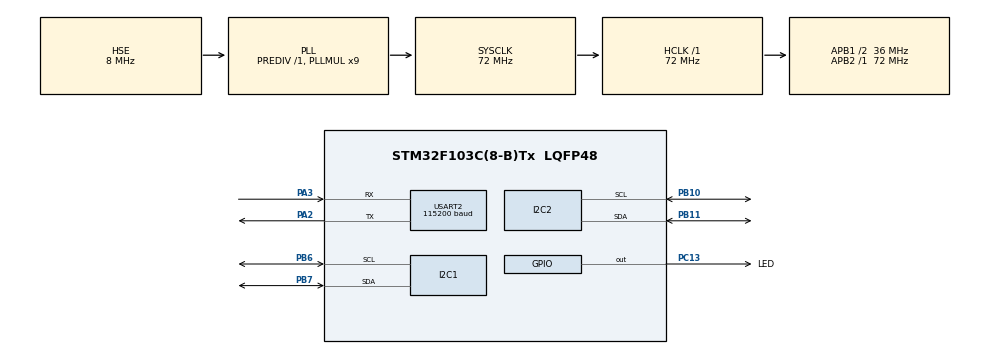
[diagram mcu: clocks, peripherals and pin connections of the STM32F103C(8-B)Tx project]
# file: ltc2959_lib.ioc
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Dma.I2C1_TX.0.Direction=DMA_MEMORY_TO_PERIPH
Dma.I2C1_TX.0.Instance=DMA1_Channel6
Dma.I2C1_TX.0.MemDataAlignment=DMA_MDATAALIGN_BYTE
Dma.I2C1_TX.0.MemInc=DMA_MINC_ENABLE
Dma.I2C1_TX.0.Mode=DMA_NORMAL
Dma.I2C1_TX.0.PeriphDataAlignment=DMA_PDATAALIGN_BYTE
Dma.I2C1_TX.0.PeriphInc=DMA_PINC_DISABLE
Dma.I2C1_TX.0.Priority=DMA_PRIORITY_LOW
Dma.Request0=I2C1_TX
I2C1.I2C_Mode=I2C_Fast
I2C2.I2C_Mode=I2C_Fast
Mcu.Family=STM32F1
Mcu.Name=STM32F103C(8-B)Tx
Mcu.Package=LQFP48
NVIC.DMA1_Channel6_IRQn=true\:0\:0\:false\:false\:true\:false\:true\:true
NVIC.PriorityGroup=NVIC_PRIORITYGROUP_4
PA13.Mode=Serial_Wire
PA13.Signal=SYS_JTMS-SWDIO
PA14.Mode=Serial_Wire
PA14.Signal=SYS_JTCK-SWCLK
PA2.Mode=Asynchronous
PA2.Signal=USART2_TX
PA3.Mode=Asynchronous
PA3.Signal=USART2_RX
PB10.Mode=I2C
PB10.Signal=I2C2_SCL
PB11.Mode=I2C
PB11.Signal=I2C2_SDA
PB6.Mode=I2C
PB6.Signal=I2C1_SCL
PB7.Mode=I2C
PB7.Signal=I2C1_SDA
PC13-TAMPER-RTC.GPIO_Label=LED
PC13-TAMPER-RTC.Signal=GPIO_Output
PD0-OSC_IN.Mode=HSE-External-Oscillator
PD0-OSC_IN.Signal=RCC_OSC_IN
PD1-OSC_OUT.Mode=HSE-External-Oscillator
PD1-OSC_OUT.Signal=RCC_OSC_OUT
ProjectManager.HeapSize=0x200
ProjectManager.StackSize=0x400
ProjectManager.TargetToolchain=STM32CubeIDE
RCC.AHBFreq_Value=72000000
RCC.APB1CLKDivider=RCC_HCLK_DIV2
RCC.APB1Freq_Value=36000000
RCC.APB1TimFreq_Value=72000000
RCC.APB2Freq_Value=72000000
RCC.APB2TimFreq_Value=72000000
RCC.HCLKFreq_Value=72000000
RCC.PLLMUL=RCC_PLL_MUL9
RCC.PLLSourceVirtual=RCC_PLLSOURCE_HSE
RCC.SYSCLKFreq_VALUE=72000000
RCC.SYSCLKSource=RCC_SYSCLKSOURCE_PLLCLK
RCC.USBFreq_Value=72000000
USART2.BaudRate=115200
USART2.Mode=MODE_TX
USART2.VirtualMode=VM_ASYNC
board=custom

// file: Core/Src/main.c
/* USER CODE BEGIN Header */
/**
  ******************************************************************************
  * @file           : main.c
  * @brief          : Main program body
  ******************************************************************************
  * @attention
  *
  * Copyright (c) 2024 STMicroelectronics.
  * All rights reserved.
  *
  * This software is licensed under terms that can be found in the LICENSE file
  * in the root directory of this software component.
  * If no LICENSE file comes with this software, it is provided AS-IS.
  *
  ******************************************************************************
  */
/* USER CODE END Header */
#include "main.h"
#include "dma.h"
#include "i2c.h"
#include "usart.h"
#include "gpio.h"

/* USER CODE BEGIN Includes */
#include "../../ltc2959/ltc2959.h"
#include "../../ssd1306_oled_lib/inc/ssd1306.h"
#include "../../ssd1306_oled_lib/inc/ssd1306_tests.h"
#include <stdbool.h>
#include <stdio.h>
/* USER CODE END Includes */

/* USER CODE BEGIN PD */
#define _DEBUG
//#define TEST_ACC
#define TEST_TIME_MS		5000
/* USER CODE END PD */

/* USER CODE BEGIN PV */
//LTC2959_Config_t *ltc2959_config;
LTC2959_Config_t ltc2959 = {
    .ADC_mode		= 	CTRL_ADC_MODE_CONT_ALT_V_I,
    .GPIO_config 	= 	CTRL_GPIO_CONFIG_ANALOG_INPUT_1560mV,
    .voltage_input 	= 	CTRL_CONFIG_VOLTAGE_INPUT_SENSEN,
    .CC_deadband 	= 	CC_CONFIG_DEADBAND_20,
};

uint32_t tick, prev_tick = 0, i2c_timeout = 10;
uint32_t prev_print_delay = 0, print_delay = 1000;
uint16_t blink_delay = 100;
uint32_t charge = 0;
int32_t current = 0, voltage = 0;
uint16_t temp = 0;

/* USER CODE END PV */

void SystemClock_Config(void);
/* USER CODE BEGIN PFP */
void LTC2959_Device_Config(void);

void myOLED_char(uint16_t cursorX, uint16_t cursorY, char* data);
void myOLED_float(uint16_t cursorX, uint16_t cursorY, float data);
void myOLED_int(uint16_t cursorX, uint16_t cursorY, uint16_t data);
void myOLED_int8(uint16_t cursorX, uint16_t cursorY, uint8_t data);
/* USER CODE END PFP */

/* USER CODE BEGIN 0 */
#ifdef __GNUC__
#define PUTCHAR_PROTOTYPE int __io_putchar(int ch)
#else
#define PUTCHAR_PROTOTYPE int fputc(int ch, FILE *f)
#endif

PUTCHAR_PROTOTYPE
{
  HAL_UART_Transmit(&huart2, (uint8_t *)&ch, 1, 1000);
  return ch;
}

/* USER CODE END 0 */

int main(void)
{

  /* MCU Configuration--------------------------------------------------------*/

  /* Reset of all peripherals, Initializes the Flash interface and the Systick. */
  HAL_Init();

  /* Configure the system clock */
  SystemClock_Config();

  /* Initialize all configured peripherals */
  MX_GPIO_Init();
  MX_DMA_Init();
  MX_I2C2_Init();
  MX_I2C1_Init();
  MX_USART2_UART_Init();
  /* USER CODE BEGIN 2 */
  printf("LTC2959 Begin\n\r");
  while(HAL_I2C_IsDeviceReady(&LTC2959_I2C_PORT, LTC2959_I2C_ADDR, 100, 1000) != HAL_OK);	// wait for it to come alive
  LTC2959_Init(&ltc2959);
  HAL_Delay(10);

  /* USER CODE END 2 */

  /* Infinite loop */
  /* USER CODE BEGIN WHILE */
  while (1)
  {

	  tick = HAL_GetTick();

	  if(tick - prev_tick >= blink_delay){
		  prev_tick = tick;
		  HAL_GPIO_TogglePin(LED_GPIO_Port, LED_Pin);
	  }
	  if(tick - prev_print_delay >= print_delay){
		  voltage = LTC2959_Get_Voltage();
		  printf("LTC2959_Voltage = %ld\n\r", voltage);
		  current = LTC2959_Get_Current();
		  printf("LTC2959_current = %ld\n\r", current);
		  charge = LTC2959_Get_Acc_Charge();
		  printf("LTC2959_charge = %lu \n\r\v", charge);

		  prev_print_delay = tick;
	  }
#ifdef TEST_ACC
	  if(tick >= TEST_TIME_MS){
//		  printf("tick %ld\n\r", tick);
		  LTC2959_Set_Do_Not_Count(false); 	// Stop the counting after
		  HAL_Delay(1000);
	  }
#endif

    /* USER CODE END WHILE */

  }
}

void SystemClock_Config(void)
{
  RCC_OscInitTypeDef RCC_OscInitStruct = {0};
  RCC_ClkInitTypeDef RCC_ClkInitStruct = {0};

  /** Initializes the RCC Oscillators according to the specified parameters
  * in the RCC_OscInitTypeDef structure.
  */
  RCC_OscInitStruct.OscillatorType = RCC_OSCILLATORTYPE_HSE;
  RCC_OscInitStruct.HSEState = RCC_HSE_ON;
  RCC_OscInitStruct.HSEPredivValue = RCC_HSE_PREDIV_DIV1;
  RCC_OscInitStruct.HSIState = RCC_HSI_ON;
  RCC_OscInitStruct.PLL.PLLState = RCC_PLL_ON;
  RCC_OscInitStruct.PLL.PLLSource = RCC_PLLSOURCE_HSE;
  RCC_OscInitStruct.PLL.PLLMUL = RCC_PLL_MUL9;
  if (HAL_RCC_OscConfig(&RCC_OscInitStruct) != HAL_OK)
  {
    Error_Handler();
  }

  /** Initializes the CPU, AHB and APB buses clocks
  */
  RCC_ClkInitStruct.ClockType = RCC_CLOCKTYPE_HCLK|RCC_CLOCKTYPE_SYSCLK
                              |RCC_CLOCKTYPE_PCLK1|RCC_CLOCKTYPE_PCLK2;
  RCC_ClkInitStruct.SYSCLKSource = RCC_SYSCLKSOURCE_PLLCLK;
  RCC_ClkInitStruct.AHBCLKDivider = RCC_SYSCLK_DIV1;
  RCC_ClkInitStruct.APB1CLKDivider = RCC_HCLK_DIV2;
  RCC_ClkInitStruct.APB2CLKDivider = RCC_HCLK_DIV1;

  if (HAL_RCC_ClockConfig(&RCC_ClkInitStruct, FLASH_LATENCY_2) != HAL_OK)
  {
    Error_Handler();
  }
}

/* USER CODE BEGIN 4 */

void myOLED_char(uint16_t cursorX, uint16_t cursorY, char* data){

	ssd1306_SetCursor(cursorX, cursorY);
	ssd1306_WriteString(data, Font_7x10, White);
}

void myOLED_float(uint16_t cursorX, uint16_t cursorY, float data){
	char str_data[10];

	sprintf(str_data, "%.3f", data);
	ssd1306_SetCursor(cursorX, cursorY);
	ssd1306_WriteString(str_data, Font_7x10, White);
}

void myOLED_int(uint16_t cursorX, uint16_t cursorY, uint16_t data){
	char str_data[10];

	sprintf(str_data, "%u", data);
	ssd1306_SetCursor(cursorX, cursorY);
	ssd1306_WriteString(str_data, Font_7x10, White);
}

void myOLED_int8(uint16_t cursorX, uint16_t cursorY, uint8_t data){
	char str_data[10];

	sprintf(str_data, "%d", data);
	ssd1306_SetCursor(cursorX, cursorY);
	ssd1306_WriteString(str_data, Font_7x10, White);
}

/* USER CODE END 4 */

void Error_Handler(void)
{
  __disable_irq();
  while (1)
  {
  }
}
